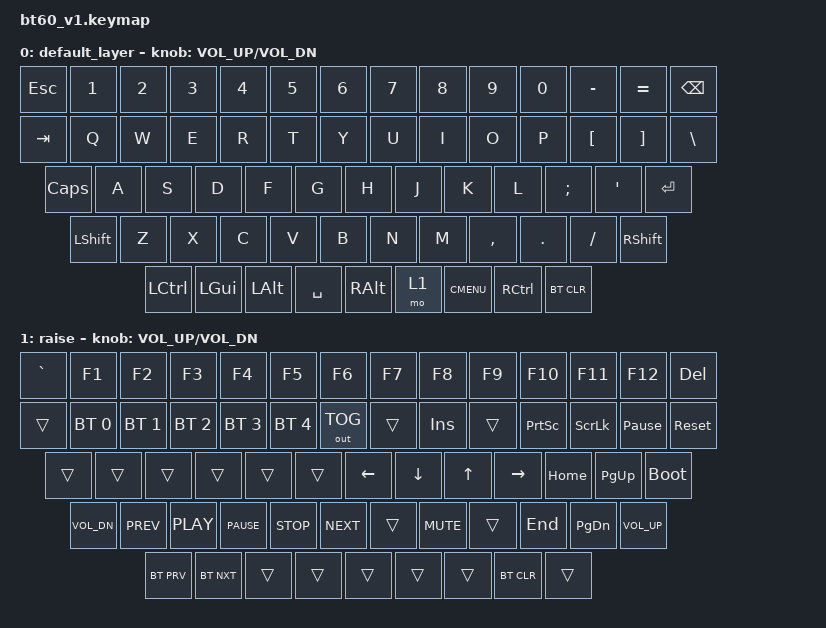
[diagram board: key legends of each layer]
#include <behaviors.dtsi>
#include <dt-bindings/zmk/keys.h>
#include <dt-bindings/zmk/bt.h>
#include <dt-bindings/zmk/outputs.h>

/ {
	chosen {
		zmk,physical_layout = &layout_60_ansi;
	};

	keymap {
		compatible = "zmk,keymap";
		default_layer {
				// ------------------------------------------------------------------------------------------
				// | ESC |  1  |  2  |  3  |  4  |  5  |  6  |  7  |  8  |  9  |  0  |  -  |  =  |   BKSP   |
				// |  TAB  |  Q  |  W  |  E  |  R  |  T  |  Y  |  U  |  I  |  O  |  P  |  [  |  ]  |   |    |
				// |  CAPS  |  A  |  S  |  D  |  F  |  G  |  H  |  J  |  K  |  L  |  ;  |  '  |    ENTER    |
				// |   SHIFT   |  Z  |  X  |  C  |  V  |  B  |  N  |  M  |  ,  |  .  | /   |      SHIFT     |
				// |  CTRL  |  WIN  |  ALT  |            SPACE             | ALT | 1    |  MENU    |  CTRL  |
				// ------------------------------------------------------------------------------------------
			bindings = <
				&kp ESC &kp N1 &kp N2 &kp N3 &kp N4 &kp N5 &kp N6 &kp N7 &kp  N8   &kp  N9 &kp  N0  &kp MINUS &kp EQUAL &kp BSPC
				&kp TAB  &kp Q  &kp W  &kp E  &kp R  &kp T  &kp Y  &kp U  &kp  I    &kp  O  &kp  P   &kp LBKT &kp RBKT  &kp BSLH
				&kp CLCK  &kp A  &kp S  &kp D  &kp F  &kp G  &kp H  &kp J  &kp  K    &kp  L  &kp SEMI &kp SQT           &kp RET
				&kp LSHFT  &kp Z  &kp X  &kp C  &kp V  &kp B  &kp N  &kp M  &kp COMMA &kp DOT &kp FSLH             &kp RSHFT
				&kp LCTRL &kp LGUI &kp LALT            &kp SPACE                          &kp RALT  &mo 1 &kp K_CMENU &kp RCTRL &bt BT_CLR
			>;
			sensor-bindings = <&inc_dec_kp C_VOL_UP C_VOL_DN>;
		};
		raise {
				// -------------------------------------------------------------------------------------------------
				// |   GRAVE   | F1 | F2 | F3 | F4 | F5 | F6 | F7 | F8 | F9 | F10 | F11 | F12 |         DEL        |
				// | | BT_0 | BT_1 | BT_2 | BT_3 | BT_4 | OUT_TOG |  | INS |  | PSCRN | SLCK | PAUSE_BREAK | RESET |
				// |     |   |   |   |   |    | LEFT | DOWN | UP | RIGHT | HOME | PGUP |         BOOTLOADER        |
				// |  VOL_DOWN  | PREV | PLAY | PAUSE | STOP | NEXT |      | MUTE |      | END | PGDN |   VOL_UP   |
				// |  BT_PRV  |  BT_NXT  |    |                                           |    |    |    | BT_CLR  |
				// -------------------------------------------------------------------------------------------------
			bindings = <
				&kp GRAVE &kp F1 &kp F2 &kp F3 &kp F4 &kp F5 &kp F6 &kp F7 &kp  F8   &kp  F9 &kp  F10  &kp F11 &kp F12   &kp DEL
				&trans &bt BT_SEL 0 &bt BT_SEL 1 &bt BT_SEL 2 &bt BT_SEL 3 &bt BT_SEL 4 &out OUT_TOG &trans &kp INS &trans &kp PSCRN &kp SLCK &kp PAUSE_BREAK &sys_reset
				&trans    &trans &trans &trans &trans &trans &kp LEFT &kp DOWN &kp UP &kp RIGHT &kp HOME  &kp PG_UP   &bootloader
				&kp C_VOL_DN &kp C_PREV &kp C_PLAY &kp C_PAUSE &kp C_STOP &kp C_NEXT &trans &kp C_MUTE &trans &kp END &kp PG_DN  &kp C_VOL_UP
				&bt BT_PRV &bt BT_NXT  &trans              &trans                            &trans   &trans   &trans &bt BT_CLR &trans
			>;
			sensor-bindings = <&inc_dec_kp C_VOL_UP C_VOL_DN>;
		};
	};
};
